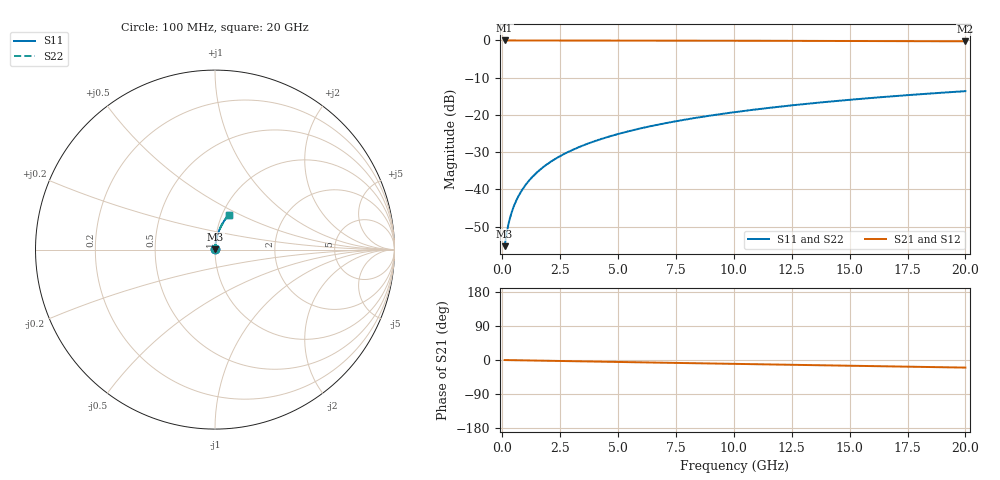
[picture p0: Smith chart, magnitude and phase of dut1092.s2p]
! Touchstone file exported from HFSS 2026.1.0
!  File:  C:/ffzhzh/LocalFiles/Ansys_Project_Files/temp_train_TMRDL_1092_1783161105_51560.aedt
!  Generated:  06:32:58 PM Jul  4, 2026
!  Design:  TMRDL
!  Project:  temp_train_TMRDL_1092_1783161105_51560
! Variables:
!  h_bsmrdl = 2um
!  h_ox = 20um
!  h_rdl = 5um
!  h_sub = 80um
!  h_tmrdl = 3.68um
!  h_tsv = 80um
!  h_via = 3um
!  l_bsmrdl = 300um
!  l_sub = 645.9um
!  l_tmrdl = 245.9um
!  m_sub = 200um
!  pitch = 52.85um
!  r_tsv = 6um
!  s_tmrdl = 10um
!  w_bsmrdl = 18um
!  w_sub = 500um
!  w_tmrdl = 23.37um
!  x_tsv_center1 = 257.585um
!  x_tsv_center2 = 575.585um
!  x_tsv_center3 = 844.855um
!  x_tsv_center4 = 1162.855um
!  x_tsv_center5 = 1432.125um
!  x_tsv_center6 = 1750.125um
# GHz S MA R 50.000000
! Terminal data exported
! Port[1] = TM_RDL1_1_T1
! Port[2] = TM_RDL1_1_T2
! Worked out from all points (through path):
!   200 points, 100 MHz to 20 GHz, reference 50 ohm
!   highest |S21| = -0.01 dB at 100 MHz (marker M1); lowest = -0.2 dB at 20 GHz (marker M2)
!   group delay of S21, straight-line fit = 2.78 ps
!   lowest |S11| = -55.3 dB at 100 MHz (marker M3), VSWR 1.00, Z = 50.1 + j0.121 ohm
!   |S11| at or under -10 dB: start of sweep to end of sweep
!   |S22| runs from -55.3 to -13.6 dB; largest |S21 - S12| = 2.7e-15
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0.1  0.001724 44.4  0.9988 -0.1  0.9988 -0.1  0.001724 44.4
! Gamma 0 0 0 0
! Port Impedance 50 0 50 0
0.2  0.002711 61.4  0.9987 -0.2  0.9987 -0.2  0.002711 61.4
0.3  0.003778 68.7  0.9986 -0.3  0.9986 -0.3  0.003777 68.7
0.4  0.004856 72.8  0.9986 -0.4  0.9986 -0.4  0.004856 72.8
0.5  0.005937 75.4  0.9985 -0.5  0.9985 -0.5  0.005937 75.4
0.6  0.007021 77.2  0.9985 -0.6  0.9985 -0.6  0.007021 77.2
0.8  0.009201 79.6  0.9984 -0.8  0.9984 -0.8  0.009201 79.6
1.1  0.01249 81.6  0.9984 -1.1  0.9984 -1.1  0.01249 81.6
1.5  0.01691 82.9  0.9982 -1.6  0.9982 -1.6  0.01691 82.9
1.8  0.02022 83.4  0.9981 -1.9  0.9981 -1.9  0.02022 83.4
2.1  0.02354 83.6  0.998 -2.2  0.998 -2.2  0.02354 83.6
2.7  0.03017 83.7  0.9977 -2.8  0.9977 -2.8  0.03017 83.7
3.5  0.03897 83.4  0.9972 -3.6  0.9972 -3.6  0.03897 83.4
4.2  0.04663 82.9  0.9967 -4.3  0.9967 -4.3  0.04663 82.9
5  0.05534 82.3  0.9961 -5.2  0.9961 -5.2  0.05534 82.3
5.9  0.06506 81.6  0.9952 -6.1  0.9952 -6.1  0.06506 81.6
6.8  0.0747 80.8  0.9943 -7.0  0.9943 -7.0  0.0747 80.8
8.3  0.09062 79.4  0.9926 -8.5  0.9926 -8.5  0.09062 79.4
10.1  0.1095 77.7  0.9903 -10.3  0.9903 -10.3  0.1095 77.7
13.4  0.1433 74.7  0.9853 -13.6  0.9853 -13.6  0.1433 74.7
16.7  0.1763 71.6  0.9795 -16.8  0.9795 -16.8  0.1763 71.6
20  0.2081 68.5  0.9728 -20.0  0.9728 -20.0  0.2081 68.5
